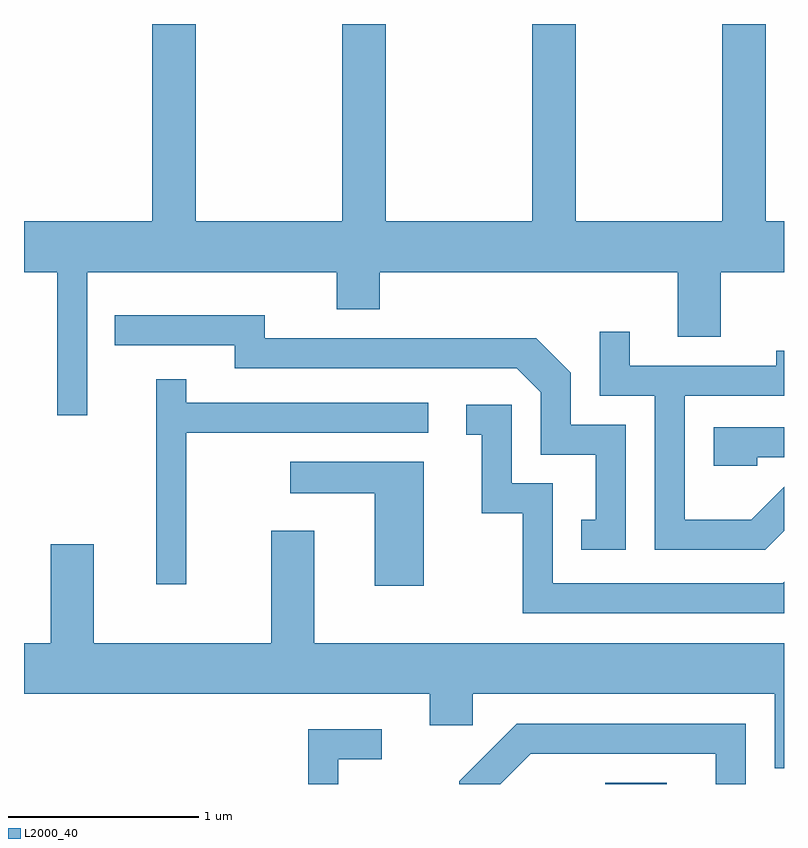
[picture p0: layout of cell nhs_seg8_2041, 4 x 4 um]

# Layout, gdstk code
import gdstk
lib = gdstk.Library(unit=1e-6, precision=1e-09)
def R(c, l, rs):  # rectangles x0, y0, x1, y1
    for r in rs: c.add(gdstk.rectangle(r[:2], r[2:], *l))
def P(c, l, *ps):  # polygons
    for p in ps: c.add(gdstk.Polygon(p, *l))
L2000_40 = (2000, 40)

nhs_seg8_2041 = lib.new_cell('nhs_seg8_2041')
R(nhs_seg8_2041, L2000_40, [(248.671,1880.342,248.993,1880.349)])
P(nhs_seg8_2041, L2000_40, [(245.944,1883.036),(247.256,1883.036),(247.256,1882.841),(247.484,1882.841),(247.484,1883.036),(249.051,1883.036),(249.051,1882.696),(249.279,1882.696),(249.279,1883.036),(249.611,1883.036),(249.611,1883.304),(249.514,1883.304),(249.514,1884.342),(249.286,1884.342),(249.286,1883.304),(248.514,1883.304),(248.514,1884.342),(248.286,1884.342),(248.286,1883.304),(247.514,1883.304),(247.514,1884.342),(247.286,1884.342),(247.286,1883.304),(246.514,1883.304),(246.514,1884.342),(246.286,1884.342),(246.286,1883.304),(245.611,1883.304),(245.611,1883.036),(245.786,1883.036),(245.786,1882.283),(245.944,1882.283)],
  [(248.779,1882.234),(248.489,1882.234),(248.489,1882.507),(248.307,1882.689),(246.879,1882.689),(246.879,1882.809),(246.088,1882.809),(246.088,1882.651),(246.721,1882.651),(246.721,1882.531),(248.204,1882.531),(248.331,1882.404),(248.331,1882.076),(248.621,1882.076),(248.621,1881.734),(248.543,1881.734),(248.543,1881.576),(248.779,1881.576)],
  [(249.611,1881.675),(249.611,1881.906),(249.439,1881.734),(249.089,1881.734),(249.089,1882.386),(249.611,1882.386),(249.611,1882.623),(249.571,1882.623),(249.571,1882.544),(248.799,1882.544),(248.799,1882.723),(248.641,1882.723),(248.641,1882.386),(248.931,1882.386),(248.931,1881.576),(249.512,1881.576)],
  [(246.464,1882.191),(247.738,1882.191),(247.738,1882.349),(246.464,1882.349),(246.464,1882.473),(246.306,1882.473),(246.306,1881.393),(246.464,1881.393)],
  [(249.611,1881.406),(249.604,1881.399),(248.394,1881.399),(248.394,1881.924),(248.179,1881.924),(248.179,1882.339),(247.938,1882.339),(247.938,1882.181),(248.021,1882.181),(248.021,1881.766),(248.236,1881.766),(248.236,1881.241),(249.611,1881.241)],
  [(249.469,1882.061),(249.611,1882.061),(249.611,1882.219),(249.241,1882.219),(249.241,1882.016),(249.469,1882.016)],
  [(247.714,1882.039),(247.013,1882.039),(247.013,1881.871),(247.456,1881.871),(247.456,1881.386),(247.714,1881.386)],
  [(249.611,1881.084),(247.139,1881.084),(247.139,1881.674),(246.911,1881.674),(246.911,1881.084),(245.979,1881.084),(245.979,1881.604),(245.751,1881.604),(245.751,1881.084),(245.611,1881.084),(245.611,1880.816),(247.746,1880.816),(247.746,1880.651),(247.974,1880.651),(247.974,1880.816),(249.561,1880.816),(249.561,1880.426),(249.611,1880.426)],
  [(248.277,1880.501),(249.251,1880.501),(249.251,1880.342),(249.409,1880.342),(249.409,1880.659),(248.204,1880.659),(247.901,1880.357),(247.901,1880.342),(248.117,1880.342)],
  [(247.264,1880.471),(247.493,1880.471),(247.493,1880.629),(247.106,1880.629),(247.106,1880.342),(247.264,1880.342)])

lib.write_gds('nhs_seg8_2041.gds')
